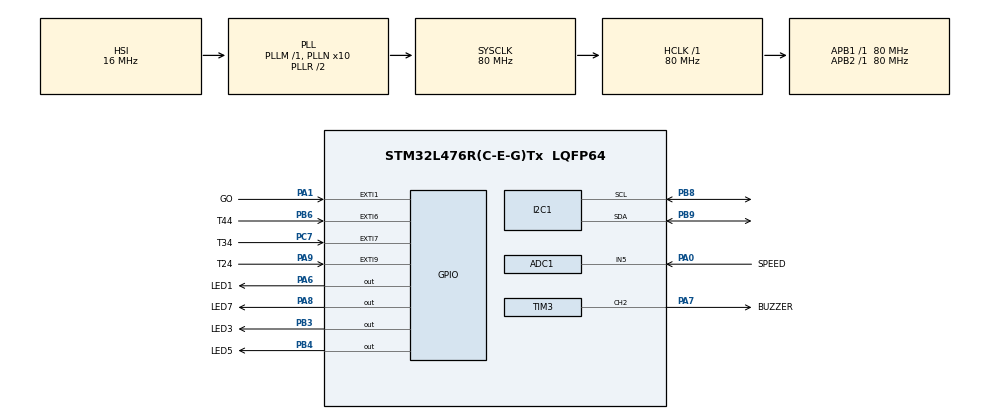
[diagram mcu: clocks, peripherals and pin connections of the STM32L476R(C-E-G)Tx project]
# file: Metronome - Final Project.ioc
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ADC1.Channel-0\#ChannelRegularConversion=ADC_CHANNEL_5
ADC1.NbrOfConversionFlag=1
ADC1.OffsetNumber-0\#ChannelRegularConversion=ADC_OFFSET_NONE
ADC1.Rank-0\#ChannelRegularConversion=1
ADC1.SamplingTime-0\#ChannelRegularConversion=ADC_SAMPLETIME_2CYCLES_5
ADC1.master=1
I2C1.Timing=0x10D19CE4
Mcu.Family=STM32L4
Mcu.Name=STM32L476R(C-E-G)Tx
Mcu.Package=LQFP64
NVIC.EXTI1_IRQn=true\:0\:0\:false\:false\:true\:true\:true\:true
NVIC.EXTI9_5_IRQn=true\:0\:0\:false\:false\:true\:true\:true\:true
NVIC.I2C1_ER_IRQn=true\:0\:0\:false\:false\:true\:true\:true\:true
NVIC.I2C1_EV_IRQn=true\:0\:0\:false\:false\:true\:true\:true\:true
NVIC.PriorityGroup=NVIC_PRIORITYGROUP_4
NVIC.TIM3_IRQn=true\:0\:0\:false\:false\:true\:true\:true\:true
PA0.GPIO_Label=SPEED
PA0.Signal=ADCx_IN5
PA1.GPIO_Label=GO
PA1.GPIO_ModeDefaultEXTI=GPIO_MODE_IT_FALLING
PA1.GPIO_PuPd=GPIO_PULLUP
PA1.Signal=GPXTI1
PA13\ (JTMS-SWDIO).GPIO_Label=TMS
PA13\ (JTMS-SWDIO).Mode=Serial_Wire
PA13\ (JTMS-SWDIO).Signal=SYS_JTMS-SWDIO
PA14\ (JTCK-SWCLK).GPIO_Label=TCK
PA14\ (JTCK-SWCLK).Mode=Serial_Wire
PA14\ (JTCK-SWCLK).Signal=SYS_JTCK-SWCLK
PA6.GPIO_Label=LED1
PA6.Signal=GPIO_Output
PA7.GPIO_Label=BUZZER
PA7.Signal=S_TIM3_CH2
PA8.GPIO_Label=LED7
PA8.Signal=GPIO_Output
PA9.GPIO_Label=T24
PA9.GPIO_ModeDefaultEXTI=GPIO_MODE_IT_FALLING
PA9.GPIO_PuPd=GPIO_PULLUP
PA9.Signal=GPXTI9
PB3\ (JTDO-TRACESWO).GPIO_Label=LED3
PB3\ (JTDO-TRACESWO).Signal=GPIO_Output
PB4\ (NJTRST).GPIO_Label=LED5
PB4\ (NJTRST).Signal=GPIO_Output
PB6.GPIO_Label=T44
PB6.GPIO_ModeDefaultEXTI=GPIO_MODE_IT_FALLING
PB6.GPIO_PuPd=GPIO_PULLUP
PB6.Signal=GPXTI6
PB8.Mode=I2C
PB8.Signal=I2C1_SCL
PB9.Mode=I2C
PB9.Signal=I2C1_SDA
PC14-OSC32_IN\ (PC14).Mode=LSE-External-Oscillator
PC14-OSC32_IN\ (PC14).Signal=RCC_OSC32_IN
PC15-OSC32_OUT\ (PC15).Mode=LSE-External-Oscillator
PC15-OSC32_OUT\ (PC15).Signal=RCC_OSC32_OUT
PC7.GPIO_Label=T34
PC7.GPIO_ModeDefaultEXTI=GPIO_MODE_IT_FALLING
PC7.GPIO_PuPd=GPIO_PULLUP
PC7.Signal=GPXTI7
PH0-OSC_IN\ (PH0).Signal=RCC_OSC_IN
PH1-OSC_OUT\ (PH1).Signal=RCC_OSC_OUT
ProjectManager.HeapSize=0x200
ProjectManager.StackSize=0x400
ProjectManager.TargetToolchain=STM32CubeIDE
RCC.ADCFreq_Value=64000000
RCC.AHBFreq_Value=80000000
RCC.APB1Freq_Value=80000000
RCC.APB1TimFreq_Value=80000000
RCC.APB2Freq_Value=80000000
RCC.APB2TimFreq_Value=80000000
RCC.CortexFreq_Value=80000000
RCC.HCLKFreq_Value=80000000
RCC.HSE_VALUE=8000000
RCC.HSI_VALUE=16000000
RCC.MSI_VALUE=4000000
RCC.PLLN=10
RCC.PLLSourceVirtual=RCC_PLLSOURCE_HSI
RCC.PREFETCH_ENABLE=1
RCC.SYSCLKFreq_VALUE=80000000
RCC.SYSCLKSource=RCC_SYSCLKSOURCE_PLLCLK
RCC.USBFreq_Value=64000000
RCC.VCOOutputFreq_Value=160000000
SH.ADCx_IN5.0=ADC1_IN5,IN5-Single-Ended
SH.S_TIM3_CH2.0=TIM3_CH2,PWM Generation2 CH2
TIM3.AutoReloadPreload=TIM_AUTORELOAD_PRELOAD_ENABLE
TIM3.Channel-PWM\ Generation2\ CH2=TIM_CHANNEL_2
TIM3.Period=5000
TIM3.Prescaler=7999
VP_TIM3_VS_ClockSourceINT.Mode=Internal
board=NUCLEO-L476RG

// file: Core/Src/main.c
/* USER CODE BEGIN Header */
/**
  ******************************************************************************
  * @file           : main.c
  * @brief          : Main program body
  ******************************************************************************
  * @attention
  *
  * Copyright (c) 2025 STMicroelectronics.
  * All rights reserved.
  *
  * This software is licensed under terms that can be found in the LICENSE file
  * in the root directory of this software component.
  * If no LICENSE file comes with this software, it is provided AS-IS.
  *
  ******************************************************************************
  */
/* USER CODE END Header */
#include "main.h"

/* USER CODE BEGIN Includes */
#include <stdio.h> // Needed for the sprintf function
/* USER CODE END Includes */

/* USER CODE BEGIN PD */
#define I2C_ADDR 0x27 // I2C address of the PCF8574
#define RS_BIT 0      // Register select bit
#define EN_BIT 2      // Enable bit
#define BL_BIT 3      // Back_light bit
#define D4_BIT 4      // Data 4 bit
#define D5_BIT 5      // Data 5 bit
#define D6_BIT 6      // Data 6 bit
#define D7_BIT 7      // Data 7 bit
#define LCD_ROWS 2    // Number of rows on the LCD
#define LCD_COLS 16   // Number of columns on the LCD

#define BLINKLEN 30        // Amount of time each LED will shine and buzzer will sound
#define DEBOUNCE_TIME 300  // Amount of time before a button press will be recognized again
/* USER CODE END PD */

ADC_HandleTypeDef hadc1;

I2C_HandleTypeDef hi2c1;

TIM_HandleTypeDef htim3;

/* USER CODE BEGIN PV */
uint16_t timeSig = 2;         // Time signature (2 = 2/4, 3 = 3/4, 4 = 4/4)
uint16_t bpm = 100;           // Beats per minute
uint32_t bpmms = 1666;        // Beats per minute in milliseconds
uint16_t go = 1;              // Start and stop variable controlled by GO button
uint8_t backlight_state = 1;  // Back_light is automatically turned on
uint32_t lastTime = 0;        // Last time the GO button was pressed
/* USER CODE END PV */

void SystemClock_Config(void);
static void MX_GPIO_Init(void);
static void MX_ADC1_Init(void);
static void MX_TIM3_Init(void);
static void MX_I2C1_Init(void);
/* USER CODE BEGIN PFP */
void getBPM(); // Prototype to get the bpm from the potentiometer
void time24(); // Prototype to flash lights and sound buzzer in a 2/4 pattern
void time34(); // Prototype to flash lights and sound buzzer in a 3/4 pattern
void time44(); // Prototype to flash lights and sound buzzer in a 4/4 pattern
/* USER CODE END PFP */

/* USER CODE BEGIN 0 */
// Sends individual nibbles of information to the LDC to be printed (displayed)
void lcd_write_nibble(uint8_t nibble, uint8_t rs) {
	uint8_t data = nibble << D4_BIT;
	data |= rs << RS_BIT;
	data |= backlight_state << BL_BIT; // Include backlight state in data
	data |= 1 << EN_BIT;
	HAL_I2C_Master_Transmit(&hi2c1, I2C_ADDR << 1, &data, 1, 100);
	HAL_Delay(1);
	data &= ~(1 << EN_BIT);
	HAL_I2C_Master_Transmit(&hi2c1, I2C_ADDR << 1, &data, 1, 100);
}

// Sends a command to the display
void lcd_send_cmd(uint8_t cmd) {
	uint8_t upper_nibble = cmd >> 4;
	uint8_t lower_nibble = cmd & 0x0F;
	lcd_write_nibble(upper_nibble, 0);
	lcd_write_nibble(lower_nibble, 0);
	if (cmd == 0x01 || cmd == 0x02) {
		HAL_Delay(2);
	}
}

// Splits data from bytes to nibbles
void lcd_send_data(uint8_t data) {
	uint8_t upper_nibble = data >> 4;
	uint8_t lower_nibble = data & 0x0F;
	lcd_write_nibble(upper_nibble, 1);
	lcd_write_nibble(lower_nibble, 1);
}

// Initializes the display
void lcd_init() {
	HAL_Delay(50);
	lcd_write_nibble(0x03, 0);
	HAL_Delay(5);
	lcd_write_nibble(0x03, 0);
	HAL_Delay(1);
	lcd_write_nibble(0x03, 0);
	HAL_Delay(1);
	lcd_write_nibble(0x02, 0);
	lcd_send_cmd(0x28);
	lcd_send_cmd(0x0C);
	lcd_send_cmd(0x06);
	lcd_send_cmd(0x01);
	HAL_Delay(2);
}

// Prints a string to the display (in chars)
void lcd_write_string(char *str) {
	while (*str) {
		lcd_send_data(*str++);
	}
}

// Moves cursor on display
void lcd_set_cursor(uint8_t row, uint8_t column) {
	uint8_t address;
	switch (row) {
		case 0:
			address = 0x00;
			break;
		case 1:
			address = 0x40;
			break;
		default:
			address = 0x00;
	}
	address += column;
	lcd_send_cmd(0x80 | address);
}

// Clear display
void lcd_clear(void) {
	lcd_send_cmd(0x01);
	HAL_Delay(2);
}

// Enable or disable back_light
void lcd_backlight(uint8_t state) {
	if (state) {
		backlight_state = 1;
	} else {
		backlight_state = 0;
	}
}
/* USER CODE END 0 */

int main(void)
{

  /* MCU Configuration--------------------------------------------------------*/

  /* Reset of all peripherals, Initializes the Flash interface and the Systick. */
  HAL_Init();

  /* Configure the system clock */
  SystemClock_Config();

  /* Initialize all configured peripherals */
  MX_GPIO_Init();
  MX_ADC1_Init();
  MX_TIM3_Init();
  MX_I2C1_Init();
  /* USER CODE BEGIN 2 */

  // I2C pull-up resistors
  GPIOB->PUPDR |= 0b01 << (8*2);
  GPIOB->PUPDR |= 0b01 << (9*2);

  // Initialize the LCD
  lcd_init();
  lcd_backlight(1); // Turn on backlight

  /* USER CODE END 2 */

  /* Infinite loop */
  while (1)
  {

    /* USER CODE BEGIN 3 */
	  if (go == 1) { // If system is on
		  getBPM();  // Get the bpm value from the potentiometer

		  lcd_clear();                    // Clear the screen
		  char pbpm[15];                  // Create an empty string to display bpm
		  sprintf(pbpm, "BPM: %d", bpm);  // Insert the actual bpm to the string
		  lcd_write_string(pbpm);         // Write the string to the LCD

		  // Check for the time signature to call the correct function
		  if(timeSig == 2) {
			  time24(); // Run 2/4 time function
		  } else if(timeSig == 3) {
			  time34(); // Run 3/4 time function
		  } else if(timeSig == 4) {
			  time44(); // Run 4/4 time function
		  }
	  }
  }
  /* USER CODE END 3 */
}

void SystemClock_Config(void)
{
  RCC_OscInitTypeDef RCC_OscInitStruct = {0};
  RCC_ClkInitTypeDef RCC_ClkInitStruct = {0};

  /** Configure the main internal regulator output voltage
  */
  if (HAL_PWREx_ControlVoltageScaling(PWR_REGULATOR_VOLTAGE_SCALE1) != HAL_OK)
  {
    Error_Handler();
  }

  /** Initializes the RCC Oscillators according to the specified parameters
  * in the RCC_OscInitTypeDef structure.
  */
  RCC_OscInitStruct.OscillatorType = RCC_OSCILLATORTYPE_HSI;
  RCC_OscInitStruct.HSIState = RCC_HSI_ON;
  RCC_OscInitStruct.HSICalibrationValue = RCC_HSICALIBRATION_DEFAULT;
  RCC_OscInitStruct.PLL.PLLState = RCC_PLL_ON;
  RCC_OscInitStruct.PLL.PLLSource = RCC_PLLSOURCE_HSI;
  RCC_OscInitStruct.PLL.PLLM = 1;
  RCC_OscInitStruct.PLL.PLLN = 10;
  RCC_OscInitStruct.PLL.PLLP = RCC_PLLP_DIV7;
  RCC_OscInitStruct.PLL.PLLQ = RCC_PLLQ_DIV2;
  RCC_OscInitStruct.PLL.PLLR = RCC_PLLR_DIV2;
  if (HAL_RCC_OscConfig(&RCC_OscInitStruct) != HAL_OK)
  {
    Error_Handler();
  }

  /** Initializes the CPU, AHB and APB buses clocks
  */
  RCC_ClkInitStruct.ClockType = RCC_CLOCKTYPE_HCLK|RCC_CLOCKTYPE_SYSCLK
                              |RCC_CLOCKTYPE_PCLK1|RCC_CLOCKTYPE_PCLK2;
  RCC_ClkInitStruct.SYSCLKSource = RCC_SYSCLKSOURCE_PLLCLK;
  RCC_ClkInitStruct.AHBCLKDivider = RCC_SYSCLK_DIV1;
  RCC_ClkInitStruct.APB1CLKDivider = RCC_HCLK_DIV1;
  RCC_ClkInitStruct.APB2CLKDivider = RCC_HCLK_DIV1;

  if (HAL_RCC_ClockConfig(&RCC_ClkInitStruct, FLASH_LATENCY_4) != HAL_OK)
  {
    Error_Handler();
  }
}

static void MX_ADC1_Init(void)
{

  ADC_MultiModeTypeDef multimode = {0};
  ADC_ChannelConfTypeDef sConfig = {0};

  /** Common config
  */
  hadc1.Instance = ADC1;
  hadc1.Init.ClockPrescaler = ADC_CLOCK_ASYNC_DIV1;
  hadc1.Init.Resolution = ADC_RESOLUTION_12B;
  hadc1.Init.DataAlign = ADC_DATAALIGN_RIGHT;
  hadc1.Init.ScanConvMode = ADC_SCAN_DISABLE;
  hadc1.Init.EOCSelection = ADC_EOC_SINGLE_CONV;
  hadc1.Init.LowPowerAutoWait = DISABLE;
  hadc1.Init.ContinuousConvMode = DISABLE;
  hadc1.Init.NbrOfConversion = 1;
  hadc1.Init.DiscontinuousConvMode = DISABLE;
  hadc1.Init.ExternalTrigConv = ADC_SOFTWARE_START;
  hadc1.Init.ExternalTrigConvEdge = ADC_EXTERNALTRIGCONVEDGE_NONE;
  hadc1.Init.DMAContinuousRequests = DISABLE;
  hadc1.Init.Overrun = ADC_OVR_DATA_PRESERVED;
  hadc1.Init.OversamplingMode = DISABLE;
  if (HAL_ADC_Init(&hadc1) != HAL_OK)
  {
    Error_Handler();
  }

  /** Configure the ADC multi-mode
  */
  multimode.Mode = ADC_MODE_INDEPENDENT;
  if (HAL_ADCEx_MultiModeConfigChannel(&hadc1, &multimode) != HAL_OK)
  {
    Error_Handler();
  }

  /** Configure Regular Channel
  */
  sConfig.Channel = ADC_CHANNEL_5;
  sConfig.Rank = ADC_REGULAR_RANK_1;
  sConfig.SamplingTime = ADC_SAMPLETIME_2CYCLES_5;
  sConfig.SingleDiff = ADC_SINGLE_ENDED;
  sConfig.OffsetNumber = ADC_OFFSET_NONE;
  sConfig.Offset = 0;
  if (HAL_ADC_ConfigChannel(&hadc1, &sConfig) != HAL_OK)
  {
    Error_Handler();
  }

}

static void MX_I2C1_Init(void)
{

  hi2c1.Instance = I2C1;
  hi2c1.Init.Timing = 0x10D19CE4;
  hi2c1.Init.OwnAddress1 = 0;
  hi2c1.Init.AddressingMode = I2C_ADDRESSINGMODE_7BIT;
  hi2c1.Init.DualAddressMode = I2C_DUALADDRESS_DISABLE;
  hi2c1.Init.OwnAddress2 = 0;
  hi2c1.Init.OwnAddress2Masks = I2C_OA2_NOMASK;
  hi2c1.Init.GeneralCallMode = I2C_GENERALCALL_DISABLE;
  hi2c1.Init.NoStretchMode = I2C_NOSTRETCH_DISABLE;
  if (HAL_I2C_Init(&hi2c1) != HAL_OK)
  {
    Error_Handler();
  }

  /** Configure Analogue filter
  */
  if (HAL_I2CEx_ConfigAnalogFilter(&hi2c1, I2C_ANALOGFILTER_ENABLE) != HAL_OK)
  {
    Error_Handler();
  }

  /** Configure Digital filter
  */
  if (HAL_I2CEx_ConfigDigitalFilter(&hi2c1, 0) != HAL_OK)
  {
    Error_Handler();
  }

}

static void MX_TIM3_Init(void)
{

  TIM_ClockConfigTypeDef sClockSourceConfig = {0};
  TIM_MasterConfigTypeDef sMasterConfig = {0};
  TIM_OC_InitTypeDef sConfigOC = {0};

  htim3.Instance = TIM3;
  htim3.Init.Prescaler = 7999;
  htim3.Init.CounterMode = TIM_COUNTERMODE_UP;
  htim3.Init.Period = 5000;
  htim3.Init.ClockDivision = TIM_CLOCKDIVISION_DIV1;
  htim3.Init.AutoReloadPreload = TIM_AUTORELOAD_PRELOAD_ENABLE;
  if (HAL_TIM_Base_Init(&htim3) != HAL_OK)
  {
    Error_Handler();
  }
  sClockSourceConfig.ClockSource = TIM_CLOCKSOURCE_INTERNAL;
  if (HAL_TIM_ConfigClockSource(&htim3, &sClockSourceConfig) != HAL_OK)
  {
    Error_Handler();
  }
  if (HAL_TIM_PWM_Init(&htim3) != HAL_OK)
  {
    Error_Handler();
  }
  sMasterConfig.MasterOutputTrigger = TIM_TRGO_RESET;
  sMasterConfig.MasterSlaveMode = TIM_MASTERSLAVEMODE_DISABLE;
  if (HAL_TIMEx_MasterConfigSynchronization(&htim3, &sMasterConfig) != HAL_OK)
  {
    Error_Handler();
  }
  sConfigOC.OCMode = TIM_OCMODE_PWM1;
  sConfigOC.Pulse = 0;
  sConfigOC.OCPolarity = TIM_OCPOLARITY_HIGH;
  sConfigOC.OCFastMode = TIM_OCFAST_DISABLE;
  if (HAL_TIM_PWM_ConfigChannel(&htim3, &sConfigOC, TIM_CHANNEL_2) != HAL_OK)
  {
    Error_Handler();
  }
  HAL_TIM_MspPostInit(&htim3);

}

static void MX_GPIO_Init(void)
{
  GPIO_InitTypeDef GPIO_InitStruct = {0};

  /* GPIO Ports Clock Enable */
  __HAL_RCC_GPIOC_CLK_ENABLE();
  __HAL_RCC_GPIOH_CLK_ENABLE();
  __HAL_RCC_GPIOA_CLK_ENABLE();
  __HAL_RCC_GPIOB_CLK_ENABLE();

  /*Configure GPIO pin Output Level */
  HAL_GPIO_WritePin(GPIOA, LED1_Pin|LED7_Pin, GPIO_PIN_RESET);

  /*Configure GPIO pin Output Level */
  HAL_GPIO_WritePin(GPIOB, LED3_Pin|LED5_Pin, GPIO_PIN_RESET);

  /*Configure GPIO pins : GO_Pin T24_Pin */
  GPIO_InitStruct.Pin = GO_Pin|T24_Pin;
  GPIO_InitStruct.Mode = GPIO_MODE_IT_FALLING;
  GPIO_InitStruct.Pull = GPIO_PULLUP;
  HAL_GPIO_Init(GPIOA, &GPIO_InitStruct);

  /*Configure GPIO pins : LED1_Pin LED7_Pin */
  GPIO_InitStruct.Pin = LED1_Pin|LED7_Pin;
  GPIO_InitStruct.Mode = GPIO_MODE_OUTPUT_PP;
  GPIO_InitStruct.Pull = GPIO_NOPULL;
  GPIO_InitStruct.Speed = GPIO_SPEED_FREQ_LOW;
  HAL_GPIO_Init(GPIOA, &GPIO_InitStruct);

  /*Configure GPIO pin : T34_Pin */
  GPIO_InitStruct.Pin = T34_Pin;
  GPIO_InitStruct.Mode = GPIO_MODE_IT_FALLING;
  GPIO_InitStruct.Pull = GPIO_PULLUP;
  HAL_GPIO_Init(T34_GPIO_Port, &GPIO_InitStruct);

  /*Configure GPIO pins : LED3_Pin LED5_Pin */
  GPIO_InitStruct.Pin = LED3_Pin|LED5_Pin;
  GPIO_InitStruct.Mode = GPIO_MODE_OUTPUT_PP;
  GPIO_InitStruct.Pull = GPIO_NOPULL;
  GPIO_InitStruct.Speed = GPIO_SPEED_FREQ_LOW;
  HAL_GPIO_Init(GPIOB, &GPIO_InitStruct);

  /*Configure GPIO pin : T44_Pin */
  GPIO_InitStruct.Pin = T44_Pin;
  GPIO_InitStruct.Mode = GPIO_MODE_IT_FALLING;
  GPIO_InitStruct.Pull = GPIO_PULLUP;
  HAL_GPIO_Init(T44_GPIO_Port, &GPIO_InitStruct);

  /* EXTI interrupt init*/
  HAL_NVIC_SetPriority(EXTI1_IRQn, 0, 0);
  HAL_NVIC_EnableIRQ(EXTI1_IRQn);

  HAL_NVIC_SetPriority(EXTI9_5_IRQn, 0, 0);
  HAL_NVIC_EnableIRQ(EXTI9_5_IRQn);

}

/* USER CODE BEGIN 4 */
void HAL_GPIO_EXTI_Callback(uint16_t GPIO_Pin) {

	if (GPIO_Pin == T24_Pin) {        // Check if it was 2/4 time
		timeSig = 2; // Set the time signature to 2/4
	} else if (GPIO_Pin == T34_Pin) { // Check if it was 3/4 time
		timeSig = 3; // Set the time signature to 3/4
	} else if (GPIO_Pin == T44_Pin) { // Check if it was 4/4 time
		timeSig = 4; // Set the time signature to 4/4
	} else if (GPIO_Pin == GO_Pin) {  // Check if it was on/off button

		// Prevent multiple presses from button bouncing
		uint32_t currentTime = HAL_GetTick(); // Get the current time
		if((currentTime-lastTime) > DEBOUNCE_TIME) { // If the current time is within the DEBOUNCE_TIME from the last time the button was pressed
			// Toggle the on/off setting "go"
			if(go == 1) {
				go = 0;
			} else {
				go = 1;
			}

			// Set the last time to the current time
			lastTime = currentTime;
		}
	}
}

void getBPM() {
	  int ADC_RANGE = 4095;  // Range provided by ADC from the potentiometer
	  HAL_ADC_Start(&hadc1); // Start ADC Conversion
	  HAL_ADC_PollForConversion(&hadc1, HAL_MAX_DELAY); // Wait for ADC conversion to complete
	  uint16_t bpmMeasurement = HAL_ADC_GetValue(&hadc1); // Read ADC value

	  // Convert from ADC range to a range of 0 to 300
	  float unitBPM = ((float) bpmMeasurement) / ADC_RANGE;
	  bpm = (uint16_t) (unitBPM * 300);

	  // Prevent the bpm from being lower than 20 (desired range is 20 to 300)
	  if(bpm < 20){
		  bpm = 20;
	  }

	  // Sets the bpm variable in milliseconds for the delay
	  bpmms = (uint32_t) ((60 * 1000) / bpm);
}

void time24 () {
	TIM3->ARR = 22; // Sets the high pitch for the first note
	TIM3->CCR2 = 11; // Sets the off-value for PWM to half of the max to simulate a perfect sine wave
	HAL_TIM_PWM_Start(&htim3, TIM_CHANNEL_2); // Starts the timer (enables the buzzer)
	HAL_GPIO_WritePin(LED1_GPIO_Port, LED1_Pin, GPIO_PIN_SET); // Turns on LED1
	HAL_Delay(BLINKLEN); // Waits before turning off LED and buzzer
	HAL_TIM_PWM_Stop(&htim3, TIM_CHANNEL_2); // Turns off timer (buzzer)
	HAL_GPIO_WritePin(LED1_GPIO_Port, LED1_Pin, GPIO_PIN_RESET); // Turns off LED1
	HAL_Delay(bpmms/2-BLINKLEN); // Waits for half the length of the beats per minute (minus the time the light was on)

	TIM3->ARR = 44; // Sets the low pitch for the next note
	TIM3->CCR2 = 22; // Sets the off-value for PWM to half of the max to simulate a perfect sine wave
	HAL_TIM_PWM_Start(&htim3, TIM_CHANNEL_2); // Starts the timer (enables the buzzer)
	HAL_GPIO_WritePin(LED3_GPIO_Port, LED3_Pin, GPIO_PIN_SET); // Turns on LED3
	HAL_Delay(BLINKLEN); // Waits before turning off LED and buzzer
	HAL_TIM_PWM_Stop(&htim3, TIM_CHANNEL_2); // Turns off timer (buzzer)
	HAL_GPIO_WritePin(LED3_GPIO_Port, LED3_Pin, GPIO_PIN_RESET); // Turns off LED3
	HAL_Delay(bpmms/2-BLINKLEN); // Waits for half the length of the beats per minute (minus the time the light was on)
}

void time34 () {
	TIM3->ARR = 22; // Sets the high pitch for the first note
	TIM3->CCR2 = 11; // Sets the off-value for PWM to half of the max to simulate a perfect sine wave
	HAL_TIM_PWM_Start(&htim3, TIM_CHANNEL_2); // Starts the timer (enables the buzzer)
	HAL_GPIO_WritePin(LED1_GPIO_Port, LED1_Pin, GPIO_PIN_SET); // Turns on LED1
	HAL_Delay(BLINKLEN); // Waits before turning off LED and buzzer
	HAL_TIM_PWM_Stop(&htim3, TIM_CHANNEL_2); // Turns off timer (buzzer)
	HAL_GPIO_WritePin(LED1_GPIO_Port, LED1_Pin, GPIO_PIN_RESET); // Turns off LED1
	HAL_Delay(bpmms/3-BLINKLEN); // Waits for a third of the length of the beats per minute (minus the time the light was on)

	TIM3->ARR = 44; // Sets the low pitch for the last notes
	TIM3->CCR2 = 22; // Sets the off-value for PWM to half of the max to simulate a perfect sine wave
	HAL_TIM_PWM_Start(&htim3, TIM_CHANNEL_2); // Starts the timer (enables the buzzer)
	HAL_GPIO_WritePin(LED3_GPIO_Port, LED3_Pin, GPIO_PIN_SET); // Turns on LED3
	HAL_Delay(BLINKLEN); // Waits before turning off LED and buzzer
	HAL_TIM_PWM_Stop(&htim3, TIM_CHANNEL_2); // Turns off timer (buzzer)
	HAL_GPIO_WritePin(LED3_GPIO_Port, LED3_Pin, GPIO_PIN_RESET); // Turns off LED3
	HAL_Delay(bpmms/3-BLINKLEN); // Waits for a third of the length of the beats per minute (minus the time the light was on)

	HAL_TIM_PWM_Start(&htim3, TIM_CHANNEL_2); // Starts the timer (enables the buzzer)
	HAL_GPIO_WritePin(LED5_GPIO_Port, LED5_Pin, GPIO_PIN_SET); // Turns on LED5
	HAL_Delay(BLINKLEN); // Waits before turning off LED and buzzer
	HAL_TIM_PWM_Stop(&htim3, TIM_CHANNEL_2); // Turns off timer (buzzer)
	HAL_GPIO_WritePin(LED5_GPIO_Port, LED5_Pin, GPIO_PIN_RESET); // Turns off LED5
	HAL_Delay(bpmms/3-BLINKLEN); // Waits for a third of the length of the beats per minute (minus the time the light was on)
}

void time44 () {
	TIM3->ARR = 22; // Sets the high pitch for the first note
	TIM3->CCR2 = 11; // Sets the off-value for PWM to half of the max to simulate a perfect sine wave
	HAL_TIM_PWM_Start(&htim3, TIM_CHANNEL_2); // Starts the timer (enables the buzzer)
	HAL_GPIO_WritePin(LED1_GPIO_Port, LED1_Pin, GPIO_PIN_SET); // Turns on LED1
	HAL_Delay(BLINKLEN); // Waits before turning off LED and buzzer
	HAL_TIM_PWM_Stop(&htim3, TIM_CHANNEL_2); // Turns off timer (buzzer)
	HAL_GPIO_WritePin(LED1_GPIO_Port, LED1_Pin, GPIO_PIN_RESET); // Turns off LED1
	HAL_Delay(bpmms/4-BLINKLEN); // Waits for a fourth of the length of the beats per minute (minus the time the light was on)

	TIM3->ARR = 44; // Sets the low pitch for the last notes
	TIM3->CCR2 = 22; // Sets the off-value for PWM to half of the max to simulate a perfect sine wave
	HAL_TIM_PWM_Start(&htim3, TIM_CHANNEL_2); // Starts the timer (enables the buzzer)
	HAL_GPIO_WritePin(LED3_GPIO_Port, LED3_Pin, GPIO_PIN_SET); // Turns on LED3
	HAL_Delay(BLINKLEN); // Waits before turning off LED and buzzer
	HAL_TIM_PWM_Stop(&htim3, TIM_CHANNEL_2); // Turns off timer (buzzer)
	HAL_GPIO_WritePin(LED3_GPIO_Port, LED3_Pin, GPIO_PIN_RESET); // Turns off LED3
	HAL_Delay(bpmms/4-BLINKLEN); // Waits for a fourth of the length of the beats per minute (minus the time the light was on)

	HAL_TIM_PWM_Start(&htim3, TIM_CHANNEL_2); // Starts the timer (enables the buzzer)
	HAL_GPIO_WritePin(LED5_GPIO_Port, LED5_Pin, GPIO_PIN_SET); // Turns on LED5
	HAL_Delay(BLINKLEN); // Waits before turning off LED and buzzer
	HAL_TIM_PWM_Stop(&htim3, TIM_CHANNEL_2); // Turns off timer (buzzer)
	HAL_GPIO_WritePin(LED5_GPIO_Port, LED5_Pin, GPIO_PIN_RESET); // Turns off LED5
	HAL_Delay(bpmms/4-BLINKLEN); // Waits for a fourth of the length of the beats per minute (minus the time the light was on)

	HAL_TIM_PWM_Start(&htim3, TIM_CHANNEL_2); // Starts the timer (enables the buzzer)
	HAL_GPIO_WritePin(LED7_GPIO_Port, LED7_Pin, GPIO_PIN_SET); // Turns on LED7
	HAL_Delay(BLINKLEN); // Waits before turning off LED and buzzer
	HAL_TIM_PWM_Stop(&htim3, TIM_CHANNEL_2); // Turns off timer (buzzer)
	HAL_GPIO_WritePin(LED7_GPIO_Port, LED7_Pin, GPIO_PIN_RESET); // Turns off LED7
	HAL_Delay(bpmms/4-BLINKLEN); // Waits for a fourth of the length of the beats per minute (minus the time the light was on)
}
/* USER CODE END 4 */

void Error_Handler(void)
{
  __disable_irq();
  while (1)
  {
  }
}
